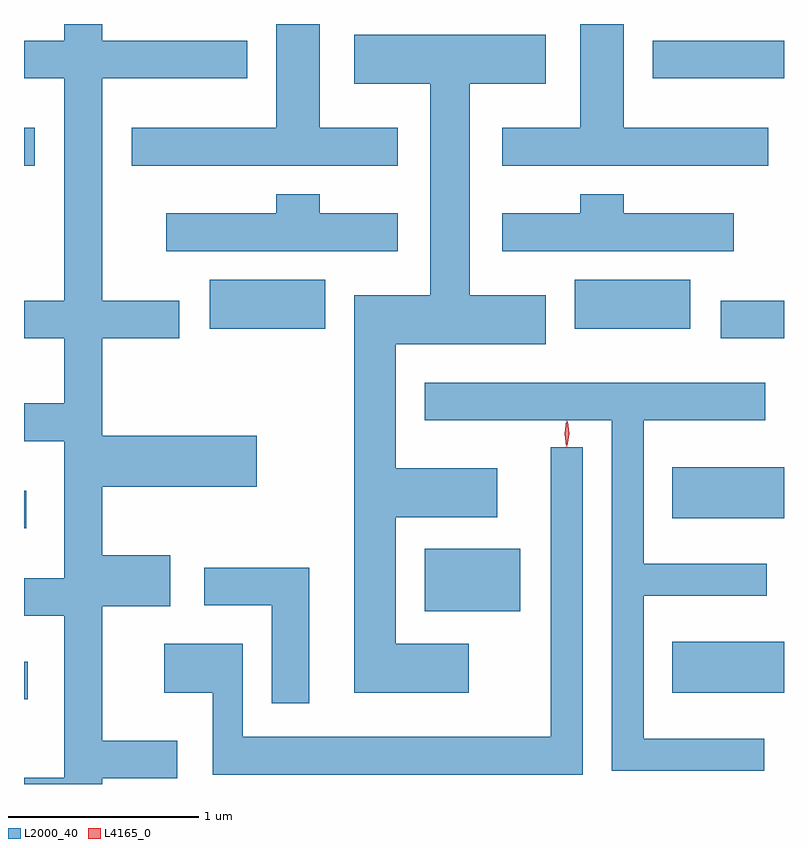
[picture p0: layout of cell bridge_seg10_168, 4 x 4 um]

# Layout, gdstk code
import gdstk
lib = gdstk.Library(unit=1e-6, precision=1e-09)
def R(c, l, rs):  # rectangles x0, y0, x1, y1
    for r in rs: c.add(gdstk.rectangle(r[:2], r[2:], *l))
def P(c, l, *ps):  # polygons
    for p in ps: c.add(gdstk.Polygon(p, *l))
L2000_40 = (2000, 40)
L4165_0 = (4165, 0)

bridge_seg10_168 = lib.new_cell('bridge_seg10_168')
R(bridge_seg10_168, L2000_40, [(1861.498,2140.846,1861.519,2141.044), (1864.911,2140.881,1865.498,2141.149), (1863.606,2141.311,1864.109,2141.639), (1861.498,2141.746,1861.509,2141.944), (1864.911,2141.801,1865.498,2142.069), (1865.166,2142.746,1865.498,2142.944), (1862.476,2142.796,1863.084,2143.054), (1864.396,2142.796,1865.004,2143.054), (1861.498,2143.656,1861.554,2143.854), (1864.806,2144.116,1865.498,2144.314)])
P(bridge_seg10_168, L2000_40, [(1861.498,2142.206),(1861.711,2142.206),(1861.711,2141.484),(1861.498,2141.484),(1861.498,2141.286),(1861.711,2141.286),(1861.711,2140.434),(1861.498,2140.434),(1861.498,2140.401),(1861.909,2140.401),(1861.909,2140.431),(1862.304,2140.431),(1862.304,2140.629),(1861.909,2140.629),(1861.909,2141.336),(1862.269,2141.336),(1862.269,2141.604),(1861.909,2141.604),(1861.909,2141.966),(1862.724,2141.966),(1862.724,2142.234),(1861.909,2142.234),(1861.909,2142.746),(1862.314,2142.746),(1862.314,2142.944),(1861.909,2142.944),(1861.909,2144.116),(1862.674,2144.116),(1862.674,2144.314),(1861.909,2144.314),(1861.909,2144.401),(1861.711,2144.401),(1861.711,2144.314),(1861.498,2144.314),(1861.498,2144.116),(1861.711,2144.116),(1861.711,2142.944),(1861.498,2142.944),(1861.498,2142.746),(1861.711,2142.746),(1861.711,2142.404),(1861.498,2142.404)],
  [(1863.464,2143.854),(1863.054,2143.854),(1863.054,2144.401),(1862.826,2144.401),(1862.826,2143.854),(1862.066,2143.854),(1862.066,2143.656),(1863.464,2143.656)],
  [(1865.414,2143.854),(1864.654,2143.854),(1864.654,2144.401),(1864.426,2144.401),(1864.426,2143.854),(1864.016,2143.854),(1864.016,2143.656),(1865.414,2143.656)],
  [(1863.839,2141.139),(1863.454,2141.139),(1863.454,2141.806),(1863.989,2141.806),(1863.989,2142.064),(1863.454,2142.064),(1863.454,2142.716),(1864.244,2142.716),(1864.244,2142.974),(1863.844,2142.974),(1863.844,2144.086),(1864.244,2144.086),(1864.244,2144.344),(1863.236,2144.344),(1863.236,2144.086),(1863.636,2144.086),(1863.636,2142.974),(1863.236,2142.974),(1863.236,2140.881),(1863.839,2140.881)],
  [(1863.464,2143.404),(1863.054,2143.404),(1863.054,2143.504),(1862.826,2143.504),(1862.826,2143.404),(1862.246,2143.404),(1862.246,2143.206),(1863.464,2143.206)],
  [(1865.234,2143.404),(1864.654,2143.404),(1864.654,2143.504),(1864.426,2143.504),(1864.426,2143.404),(1864.016,2143.404),(1864.016,2143.206),(1865.234,2143.206)],
  [(1865.393,2140.639),(1864.759,2140.639),(1864.759,2141.391),(1865.408,2141.391),(1865.408,2141.559),(1864.759,2141.559),(1864.759,2142.316),(1865.399,2142.316),(1865.399,2142.514),(1863.606,2142.514),(1863.606,2142.316),(1864.591,2142.316),(1864.591,2140.471),(1865.393,2140.471)],
  [(1864.439,2142.173),(1864.271,2142.173),(1864.271,2140.649),(1862.649,2140.649),(1862.649,2141.139),(1862.236,2141.139),(1862.236,2140.881),(1862.491,2140.881),(1862.491,2140.451),(1864.439,2140.451)],
  [(1862.999,2141.539),(1862.446,2141.539),(1862.446,2141.341),(1862.801,2141.341),(1862.801,2140.826),(1862.999,2140.826)])
P(bridge_seg10_168, L4165_0, [(1864.353,2142.174),(1864.352,2142.175),(1864.343,2142.244),(1864.352,2142.313),(1864.353,2142.314),(1864.353,2142.313),(1864.363,2142.244),(1864.353,2142.175)],
  [(1864.357,2142.178),(1864.348,2142.244),(1864.358,2142.31),(1864.358,2142.311),(1864.359,2142.31),(1864.368,2142.244),(1864.358,2142.178),(1864.358,2142.178)])

lib.write_gds('bridge_seg10_168.gds')
